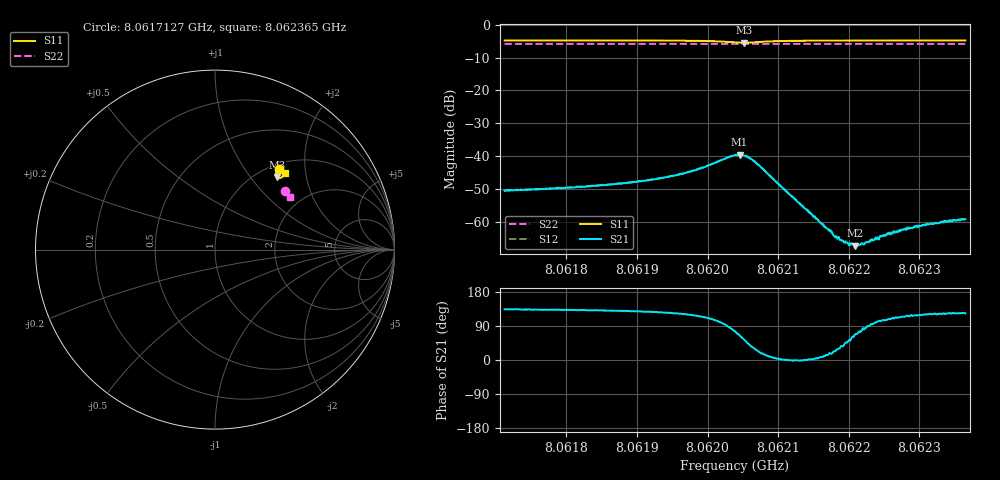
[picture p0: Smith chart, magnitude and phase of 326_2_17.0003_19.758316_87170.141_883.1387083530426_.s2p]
#  HZ  S  RI  R  50.00
! Rohde & Schwarz Vector Network Analyzer
! Rohde-Schwarz,ZNB20-2Port,1311601062101988,3.16
! Created: UTC 3/20/2024, 11:06:43 PM
! freq[Hz]  re:S11  im:S11  re:S21  im:S21  re:S12  im:S12  re:S22  im:S22
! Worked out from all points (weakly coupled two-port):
!   401 points, 8.0617127 GHz to 8.062365 GHz, reference 50 ohm
!   highest |S21| = -39.50 dB at 8.0620454 GHz (marker M1); lowest = -67.2 dB at 8.0622084 GHz (marker M2)
!   lowest |S11| = -5.5 dB at 8.0620519 GHz (marker M3), VSWR 3.27, Z = 60.6 + j68.2 ohm
!   |S11| at or under -10 dB: nowhere
!   |S22| runs from -5.9 to -5.8 dB; largest |S21 - S12| = 0.00078
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8.0617127e9  0.3592 0.4501  -0.00206 0.00215  -0.00197 0.00232  0.3926 0.3276
8.06182196e9  0.3668 0.4437  -0.0023 0.00254  -0.00212 0.00269  0.3967 0.3221
8.06188556e9  0.3715 0.439  -0.00248 0.00299  -0.00232 0.00321  0.399 0.319
8.06193122e9  0.3754 0.434  -0.00268 0.00371  -0.00249 0.00388  0.4009 0.3167
8.06198503e9  0.3799 0.4233  -0.0028 0.00559  -0.00252 0.00579  0.4028 0.3137
8.06203885e9  0.3612 0.3985  0.00257 0.0101  0.0033 0.00989  0.4034 0.3102
8.06204537e9  0.353 0.3997  0.00445 0.00961  0.005 0.00936  0.4034 0.3101
8.06205189e9  0.3451 0.4042  0.00612 0.00824  0.00667 0.00791  0.4033 0.3101
8.06206168e9  0.3394 0.4153  0.00736 0.00537  0.00759 0.00499  0.4035 0.3102
8.06206983e9  0.34 0.4244  0.00694 0.00327  0.00721 0.00291  0.4039 0.3103
8.06214811e9  0.3678 0.4386  0.00129 3.5e-05  0.00125 -4.55e-05  0.4081 0.3068
8.06217257e9  0.3718 0.4369  0.000694 0.000229  0.000743 0.000141  0.4089 0.3056
8.06218072e9  0.3728 0.4364  0.00054 0.000229  0.000587 0.000178  0.4094 0.305
8.06219703e9  0.3749 0.4354  0.000338 0.000349  0.000355 0.000324  0.4099 0.3042
8.06220844e9  0.3761 0.4347  0.000171 0.000403  0.000178 0.000401  0.4105 0.3036
8.06222475e9  0.3777 0.4338  3.85e-05 0.000495  7.02e-05 0.000474  0.4111 0.3028
8.06224758e9  0.3798 0.4323  -0.000161 0.000593  -7.91e-05 0.000607  0.4119 0.3017
8.06225736e9  0.3806 0.4317  -0.000203 0.000617  -0.00017 0.000662  0.4122 0.3011
8.06228183e9  0.3826 0.4302  -0.000341 0.00069  -0.000326 0.000757  0.4131 0.2999
8.0622965e9  0.3838 0.4293  -0.000414 0.000774  -0.000306 0.000781  0.4136 0.299
8.06233401e9  0.3863 0.4272  -0.000539 0.00082  -0.000466 0.000912  0.4149 0.2972
8.06236499e9  0.3884 0.4256  -0.000603 0.000925  -0.000561 0.000942  0.4159 0.2955
